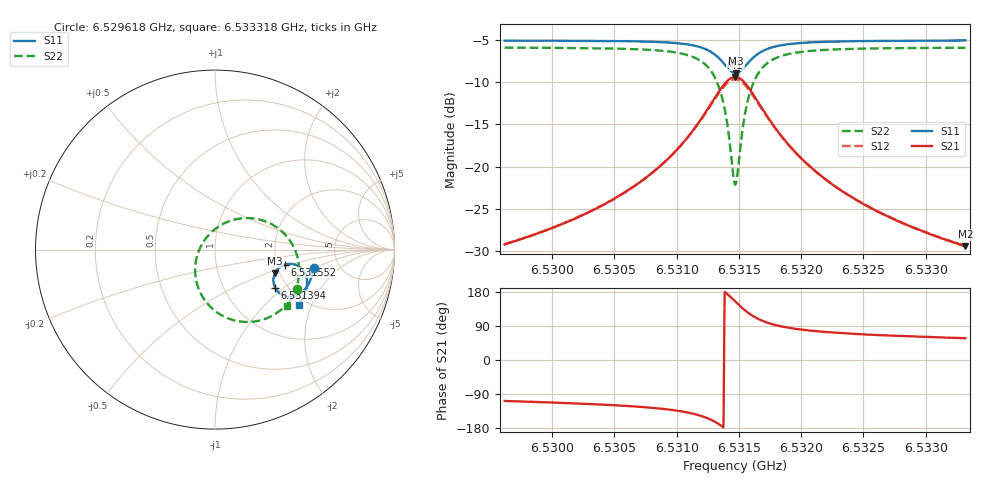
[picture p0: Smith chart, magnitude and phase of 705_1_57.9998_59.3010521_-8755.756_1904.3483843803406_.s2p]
#  HZ  S  RI  R  50.00
! Rohde & Schwarz Vector Network Analyzer
! Rohde-Schwarz,ZNB20-2Port,1311601062101988,3.16
! Created: UTC 3/21/2024, 1:21:56 AM
! freq[Hz]  re:S11  im:S11  re:S21  im:S21  re:S12  im:S12  re:S22  im:S22
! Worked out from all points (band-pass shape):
!   401 points, 6.529618 GHz to 6.533318 GHz, reference 50 ohm
!   highest |S21| = -9.35 dB at 6.531468 GHz (marker M1); lowest = -29.5 dB at 6.533318 GHz (marker M2)
!   |S21| within 3 dB of the highest: 6.531285 GHz to 6.531654 GHz (369.4 kHz wide, 0.00566 % of centre)
!   lowest |S11| = -8.9 dB at 6.531478 GHz (marker M3), VSWR 2.12, Z = 94.5 - j28.6 ohm
!   |S11| at or under -10 dB: nowhere
!   |S22| runs from -22.2 to -5.9 dB; largest |S21 - S12| = 0.014
!   S11 on the Smith chart (normalised r, x): 6.529618 GHz: 3.24, -0.95; 6.531394 GHz: 1.73, -0.87; 6.531552 GHz: 2.20, -0.44; 6.533318 GHz: 1.82, -1.64
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6.5296185e9  0.5509 -0.1011  -0.0105 -0.0327  -0.0114 -0.0326  0.4588 -0.2206
6.5302382e9  0.5374 -0.1537  -0.0217 -0.0463  -0.023 -0.0458  0.4221 -0.2791
6.5305712e9  0.5246 -0.1856  -0.0354 -0.0595  -0.037 -0.0587  0.3865 -0.319
6.5308579e9  0.5048 -0.218  -0.0609 -0.0782  -0.0634 -0.0764  0.3288 -0.3626
6.5310799e9  0.4723 -0.2474  -0.1091 -0.0982  -0.112 -0.0938  0.2328 -0.3985
6.5312371e9  0.4215 -0.263  -0.1882 -0.0991  -0.1898 -0.0907  0.0897 -0.3893
6.5313296e9  0.3712 -0.2502  -0.2653 -0.0601  -0.2625 -0.0487  -0.0357 -0.308
6.5313666e9  0.3493 -0.2326  -0.2972 -0.0233  -0.291 -0.0119  -0.0817 -0.2401
6.5313944e9  0.3355 -0.2127  -0.3155 0.0147  -0.3064 0.0251  -0.1046 -0.1735
6.5314499e9  0.3261 -0.1595  -0.3203 0.1108  -0.3074 0.1156  -0.0936 -0.0152
6.5314684e9  0.3306 -0.1405  -0.3092 0.1436  -0.2959 0.1461  -0.069 0.036
6.5314776e9  0.3342 -0.1316  -0.3012 0.1589  -0.288 0.1603  -0.0532 0.0597
6.5314961e9  0.3443 -0.1151  -0.281 0.1868  -0.2685 0.1861  -0.0152 0.1013
6.5315146e9  0.3572 -0.1013  -0.2565 0.2096  -0.2452 0.2073  0.0289 0.1342
6.5315516e9  0.3875 -0.084  -0.2012 0.2378  -0.1933 0.2333  0.1242 0.1707
6.5316163e9  0.4375 -0.0814  -0.1141 0.2415  -0.1102 0.2372  0.2704 0.161
6.5317088e9  0.4818 -0.1054  -0.0389 0.2046  -0.0373 0.2024  0.3914 0.0828
6.5318476e9  0.5068 -0.1451  0.005 0.1495  0.00611 0.1486  0.4552 -0.0269
6.5320881e9  0.5127 -0.1924  0.0218 0.0949  0.0231 0.0946  0.4679 -0.1384
6.5323563e9  0.5065 -0.227  0.0234 0.0652  0.0245 0.0649  0.4555 -0.2047
6.5327078e9  0.4942 -0.2612  0.0215 0.0452  0.0224 0.0449  0.4345 -0.257
6.5333182e9  0.4694 -0.3083  0.0181 0.0283  0.0186 0.028  0.3991 -0.3147
